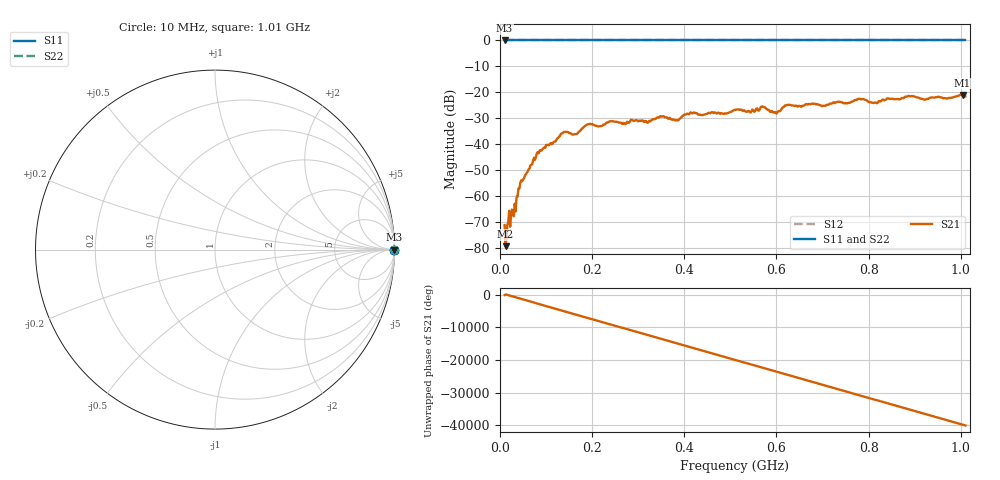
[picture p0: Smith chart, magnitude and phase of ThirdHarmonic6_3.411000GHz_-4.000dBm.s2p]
! 8/17/2025 10:55:09 AM
! C:\ANRITSUVNA\TEMP\TEMP.S2P
! CHANNEL.1
! TR.MEASUREMENT
! RAW.DATA
! RF.CORRECTION.OFF
! AVERAGING.OFF
! IF.BANDWIDTH: 5KHZ
! SWEEPTYPE:  FREQ.SWEEP(Linear)
! Reference Plane Port Info
! PORT:  PORT1  PORT2
! DISTANCE:  0  m  0  m
! TIME:  0  s  0  s
! PHASE.OFFSET:  0  deg.  0  deg.
! LOSS:  0  dB  0  dB
! REF.LOSS:  0  dB  0  dB
! REF.FREQ:  0  Hz  0  Hz
! Power Info
! POWER:  -20  dBm  -20  dBm
! EFF.POWER:  -20  dBm  -20  dBm
! SOURCE.ATTEN:  0  dB  0  dB
! TEST.ATTEN:  0  dB  0  dB
# GHZ S RI R 50.0
! FREQ.GHZ  S11RE  S11IM  S21RE  S21IM  S12RE  S12IM  S22RE  S22IM
!; PortSelection: Port_12
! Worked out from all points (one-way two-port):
!   501 points, 10 MHz to 1.01 GHz, reference 50 ohm
!   highest |S21| = -20.94 dB at 1.004 GHz (marker M1); lowest = -79.1 dB at 12 MHz (marker M2)
!   lowest |S11| = 0.0 dB at 10 MHz (marker M3)
!   |S11| at or under -10 dB: nowhere
!   |S22| runs from 0.0 to 0.0 dB; largest |S21 - S12| = 1.1
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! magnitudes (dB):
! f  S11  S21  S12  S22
! 10 MHz  0.0  -71.0  0.0  0.0
! 12 MHz  0.0  -79.1  0.0  0.0
! 32 MHz  0.0  -62.8  0.0  0.0
! 44 MHz  0.0  -54.7  0.0  0.0
! 84 MHz  0.0  -43.4  0.0  0.0
! 136 MHz  0.0  -35.7  0.0  0.0
! 162 MHz  0.0  -36.1  0.0  0.0
! 178 MHz  0.0  -33.8  0.0  0.0
! 192 MHz  0.0  -32.2  0.0  0.0
! 322 MHz  0.0  -31.4  0.0  0.0
! 344 MHz  0.0  -29.7  0.0  0.0
! 384 MHz  0.0  -30.7  0.0  0.0
! 418 MHz  0.0  -28.0  0.0  0.0
! 510 MHz  0.0  -26.7  0.0  0.0
! 540 MHz  0.0  -27.1  0.0  0.0
! 570 MHz  0.0  -25.4  0.0  0.0
! 598 MHz  0.0  -27.6  0.0  0.0
! 622 MHz  0.0  -24.8  0.0  0.0
! 678 MHz  0.0  -24.2  0.0  0.0
! 844 MHz  0.0  -22.4  0.0  0.0
! 1.004 GHz  0.0  -20.9  0.0  0.0
! 1.01 GHz  0.0  -21.5  0.0  0.0
